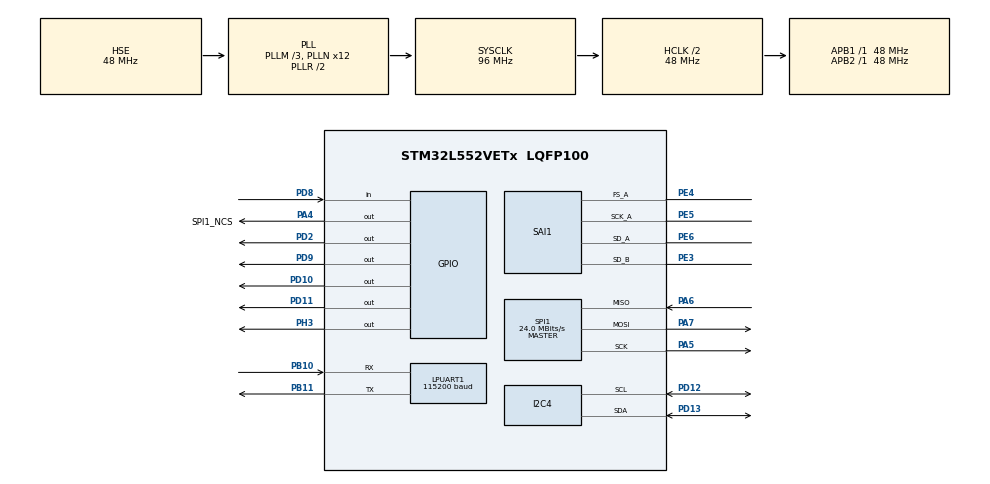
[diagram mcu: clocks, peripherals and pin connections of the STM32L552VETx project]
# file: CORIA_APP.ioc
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Dma.LPUART1_RX.1.Channel_PRIV_NPRIV=DMA_CHANNEL_NPRIV_DISABLE
Dma.LPUART1_RX.1.Direction=DMA_PERIPH_TO_MEMORY
Dma.LPUART1_RX.1.EventEnable=DISABLE
Dma.LPUART1_RX.1.Instance=DMA1_Channel2
Dma.LPUART1_RX.1.MemDataAlignment=DMA_MDATAALIGN_BYTE
Dma.LPUART1_RX.1.MemInc=DMA_MINC_ENABLE
Dma.LPUART1_RX.1.Mode=DMA_NORMAL
Dma.LPUART1_RX.1.PeriphDataAlignment=DMA_PDATAALIGN_BYTE
Dma.LPUART1_RX.1.PeriphInc=DMA_PINC_DISABLE
Dma.LPUART1_RX.1.Polarity=HAL_DMAMUX_REQ_GEN_RISING
Dma.LPUART1_RX.1.Priority=DMA_PRIORITY_MEDIUM
Dma.LPUART1_RX.1.RequestNumber=1
Dma.LPUART1_RX.1.SignalID=NONE
Dma.LPUART1_RX.1.SyncEnable=DISABLE
Dma.LPUART1_RX.1.SyncPolarity=HAL_DMAMUX_SYNC_NO_EVENT
Dma.LPUART1_RX.1.SyncRequestNumber=1
Dma.LPUART1_RX.1.SyncSignalID=NONE
Dma.LPUART1_TX.0.Channel_PRIV_NPRIV=DMA_CHANNEL_NPRIV_DISABLE
Dma.LPUART1_TX.0.Direction=DMA_MEMORY_TO_PERIPH
Dma.LPUART1_TX.0.EventEnable=DISABLE
Dma.LPUART1_TX.0.Instance=DMA1_Channel1
Dma.LPUART1_TX.0.MemDataAlignment=DMA_MDATAALIGN_BYTE
Dma.LPUART1_TX.0.MemInc=DMA_MINC_ENABLE
Dma.LPUART1_TX.0.Mode=DMA_NORMAL
Dma.LPUART1_TX.0.PeriphDataAlignment=DMA_PDATAALIGN_BYTE
Dma.LPUART1_TX.0.PeriphInc=DMA_PINC_DISABLE
Dma.LPUART1_TX.0.Polarity=HAL_DMAMUX_REQ_GEN_RISING
Dma.LPUART1_TX.0.Priority=DMA_PRIORITY_MEDIUM
Dma.LPUART1_TX.0.RequestNumber=1
Dma.LPUART1_TX.0.SignalID=NONE
Dma.LPUART1_TX.0.SyncEnable=DISABLE
Dma.LPUART1_TX.0.SyncPolarity=HAL_DMAMUX_SYNC_NO_EVENT
Dma.LPUART1_TX.0.SyncRequestNumber=1
Dma.LPUART1_TX.0.SyncSignalID=NONE
Dma.Request0=LPUART1_TX
Dma.Request1=LPUART1_RX
Dma.Request2=SAI1_A
Dma.Request3=SAI1_B
Dma.SAI1_A.2.Channel_PRIV_NPRIV=DMA_CHANNEL_NPRIV_DISABLE
Dma.SAI1_A.2.Direction=DMA_MEMORY_TO_PERIPH
Dma.SAI1_A.2.EventEnable=DISABLE
Dma.SAI1_A.2.Instance=DMA1_Channel3
Dma.SAI1_A.2.MemDataAlignment=DMA_MDATAALIGN_HALFWORD
Dma.SAI1_A.2.MemInc=DMA_MINC_ENABLE
Dma.SAI1_A.2.Mode=DMA_CIRCULAR
Dma.SAI1_A.2.PeriphDataAlignment=DMA_PDATAALIGN_HALFWORD
Dma.SAI1_A.2.PeriphInc=DMA_PINC_DISABLE
Dma.SAI1_A.2.Polarity=HAL_DMAMUX_REQ_GEN_RISING
Dma.SAI1_A.2.Priority=DMA_PRIORITY_LOW
Dma.SAI1_A.2.RequestNumber=1
Dma.SAI1_A.2.SignalID=NONE
Dma.SAI1_A.2.SyncEnable=DISABLE
Dma.SAI1_A.2.SyncPolarity=HAL_DMAMUX_SYNC_NO_EVENT
Dma.SAI1_A.2.SyncRequestNumber=1
Dma.SAI1_A.2.SyncSignalID=NONE
Dma.SAI1_B.3.Channel_PRIV_NPRIV=DMA_CHANNEL_NPRIV_DISABLE
Dma.SAI1_B.3.Direction=DMA_PERIPH_TO_MEMORY
Dma.SAI1_B.3.EventEnable=DISABLE
Dma.SAI1_B.3.Instance=DMA1_Channel4
Dma.SAI1_B.3.MemDataAlignment=DMA_MDATAALIGN_HALFWORD
Dma.SAI1_B.3.MemInc=DMA_MINC_ENABLE
Dma.SAI1_B.3.Mode=DMA_CIRCULAR
Dma.SAI1_B.3.PeriphDataAlignment=DMA_PDATAALIGN_HALFWORD
Dma.SAI1_B.3.PeriphInc=DMA_PINC_DISABLE
Dma.SAI1_B.3.Polarity=HAL_DMAMUX_REQ_GEN_RISING
Dma.SAI1_B.3.Priority=DMA_PRIORITY_MEDIUM
Dma.SAI1_B.3.RequestNumber=1
Dma.SAI1_B.3.SignalID=NONE
Dma.SAI1_B.3.SyncEnable=DISABLE
Dma.SAI1_B.3.SyncPolarity=HAL_DMAMUX_SYNC_NO_EVENT
Dma.SAI1_B.3.SyncRequestNumber=1
Dma.SAI1_B.3.SyncSignalID=NONE
I2C4.Timing=0x20303E5D
LPUART1.BaudRate=115200
LPUART1.WordLength=UART_WORDLENGTH_8B
Mcu.Family=STM32L5
Mcu.Name=STM32L552VETx
Mcu.Package=LQFP100
NVIC.DMA1_Channel1_IRQn=true\:0\:0\:false\:false\:true\:false\:true\:true
NVIC.DMA1_Channel2_IRQn=true\:5\:0\:true\:false\:true\:false\:true\:true
NVIC.DMA1_Channel3_IRQn=true\:0\:0\:false\:false\:true\:false\:true\:true
NVIC.DMA1_Channel4_IRQn=true\:0\:0\:false\:false\:true\:false\:true\:true
NVIC.LPUART1_IRQn=true\:5\:0\:true\:false\:true\:true\:true\:true
NVIC.PriorityGroup=NVIC_PRIORITYGROUP_3
NVIC.RTC_IRQn=true\:0\:0\:false\:false\:true\:true\:true\:true
NVIC.TIM1_UP_IRQn=true\:7\:0\:false\:false\:true\:false\:true\:true
NVIC.TimeBase=TIM1_UP_IRQn
NVIC.TimeBaseIP=TIM1
PA4.GPIO_Label=SPI1_NCS
PA4.PinState=GPIO_PIN_SET
PA4.Signal=GPIO_Output
PA5.Mode=Full_Duplex_Master
PA5.Signal=SPI1_SCK
PA6.Mode=Full_Duplex_Master
PA6.Signal=SPI1_MISO
PA7.Mode=Full_Duplex_Master
PA7.Signal=SPI1_MOSI
PB10.Mode=Asynchronous
PB10.Signal=LPUART1_RX
PB11.Mode=Asynchronous
PB11.Signal=LPUART1_TX
PC14-OSC32_IN\ (PC14).Mode=LSE-External-Oscillator
PC14-OSC32_IN\ (PC14).Signal=RCC_OSC32_IN
PC15-OSC32_OUT\ (PC15).Mode=LSE-External-Oscillator
PC15-OSC32_OUT\ (PC15).Signal=RCC_OSC32_OUT
PD10.PinState=GPIO_PIN_RESET
PD10.Signal=GPIO_Output
PD11.PinState=GPIO_PIN_RESET
PD11.Signal=GPIO_Output
PD12.Mode=I2C
PD12.Signal=I2C4_SCL
PD13.Mode=I2C
PD13.Signal=I2C4_SDA
PD2.Signal=GPIO_Output
PD8.Signal=GPIO_Input
PD9.Signal=GPIO_Output
PE3.Mode=SAI_B_SyncSlave
PE3.Signal=SAI1_SD_B
PE4.Mode=SAI_A_Master
PE4.Signal=SAI1_FS_A
PE5.Mode=SAI_A_Master
PE5.Signal=SAI1_SCK_A
PE6.Mode=SAI_A_Master
PE6.Signal=SAI1_SD_A
PH0-OSC_IN\ (PH0).Mode=HSE-External-Oscillator
PH0-OSC_IN\ (PH0).Signal=RCC_OSC_IN
PH1-OSC_OUT\ (PH1).Mode=HSE-External-Oscillator
PH1-OSC_OUT\ (PH1).Signal=RCC_OSC_OUT
PH3-BOOT0.GPIO_PuPd=GPIO_PULLDOWN
PH3-BOOT0.Signal=GPIO_Output
ProjectManager.HeapSize=0x200
ProjectManager.StackSize=0x400
ProjectManager.TargetToolchain=STM32CubeIDE
RCC.ADCFreq_Value=68000000
RCC.AHBCLKDivider=RCC_SYSCLK_DIV2
RCC.AHBFreq_Value=48000000
RCC.APB1Freq_Value=48000000
RCC.APB1TimFreq_Value=48000000
RCC.APB2Freq_Value=48000000
RCC.APB2TimFreq_Value=48000000
RCC.CortexFreq_Value=48000000
RCC.FLatency=FLASH_LATENCY_2
RCC.HCLKFreq_Value=48000000
RCC.HSE_Timout=200
RCC.HSE_VALUE=48000000
RCC.HSI48_VALUE=48000000
RCC.HSI_VALUE=16000000
RCC.MSI_VALUE=4000000
RCC.PLLM=3
RCC.PLLN=12
RCC.PLLSAI1M=6
RCC.PLLSAI1N=17
RCC.PLLSAI1P=RCC_PLLP_DIV17
RCC.PLLSAI1Source=RCC_PLLSAI1SOURCE_HSE
RCC.PLLSAI2Source=RCC_PLLSAI2SOURCE_HSE
RCC.PLLSourceVirtual=RCC_PLLSOURCE_HSE
RCC.RTCClockSelection=RCC_RTCCLKSOURCE_LSE
RCC.SYSCLKFreq_VALUE=96000000
RCC.SYSCLKSource=RCC_SYSCLKSOURCE_PLLCLK
RCC.USBFreq_Value=68000000
RCC.VCOOutputFreq_Value=192000000
RCC.VDD_VALUE=3
RTC.WakeUpCounter-WakeUp=0x7810
SAI1.AudioFrequency-SAI_A_Master=SAI_AUDIO_FREQUENCY_32K
SAI1.BasicDataSize-SAI_A_Master=SAI_PROTOCOL_DATASIZE_16BITEXTENDED
SAI1.BasicDataSize-SAI_B_SyncSlave=SAI_PROTOCOL_DATASIZE_16BITEXTENDED
SAI1.BasicProtocol-SAI_B_SyncSlave=SAI_I2S_STANDARD
SAI1.ErrorAudioFreq-SAI_A_Master=-2.34 %
SAI1.InitProtocol-SAI_A_Master=Enable
SAI1.InitProtocol-SAI_B_SyncSlave=Enable
SAI1.Instance-SAI_A_Master=SAI$Index_Block_A
SAI1.Instance-SAI_B_SyncSlave=SAI$Index_Block_B
SAI1.MckOutput-SAI_A_Master=SAI_MCK_OUTPUT_DISABLE
SAI1.MonoStereoMode-SAI_A_Master=SAI_MONOMODE
SAI1.NoDivider-SAI_A_Master=SAI_MASTERDIVIDER_ENABLE
SAI1.RealAudioFreq-SAI_A_Master=31.25 KHz
SAI1.SynchroExt=SAI_SYNCEXT_OUTBLOCKB_ENABLE
SAI1.TriState-SAI_B_SyncSlave=SAI_OUTPUT_RELEASED
SAI1.VirtualMode-SAI_A_Master=VM_MASTER
SAI1.VirtualMode-SAI_B_SyncSlave=VM_SLAVE
SAI1.VirtualProtocol-SAI_A_BASIC=VM_BASIC_PROTOCOL
SAI1.VirtualProtocol-SAI_B_BASIC=VM_BASIC_PROTOCOL
SPI1.BaudRatePrescaler=SPI_BAUDRATEPRESCALER_2
SPI1.CalculateBaudRate=24.0 MBits/s
SPI1.DataSize=SPI_DATASIZE_8BIT
SPI1.Direction=SPI_DIRECTION_2LINES
SPI1.Mode=SPI_MODE_MASTER
SPI1.VirtualType=VM_MASTER
VP_ICACHE_VS_ICACHE.Mode=DefaultMode
VP_RTC_VS_RTC_Activate.Mode=RTC_Enabled
VP_RTC_VS_RTC_WakeUp_intern.Mode=WakeUp
VP_SAI1_VP_$IpInstance_SAIA_SAI_BASIC.Mode=SAI_A_BASIC
VP_SAI1_VP_$IpInstance_SAIB_SAI_BASIC.Mode=SAI_B_BASIC
VP_SAI1_VP_$IpInstance_SYNCHRO_EXTERNAL.Mode=SynchroExternal
VP_SYS_VS_tim1.Mode=TIM1
board=custom

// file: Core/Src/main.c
/* USER CODE BEGIN Header */
/**
  ******************************************************************************
  * @file           : main.c
  * @brief          : Main program body
  ******************************************************************************
  * @attention
  *
  * Copyright (c) 2023 STMicroelectronics.
  * All rights reserved.
  *
  * This software is licensed under terms that can be found in the LICENSE file
  * in the root directory of this software component.
  * If no LICENSE file comes with this software, it is provided AS-IS.
  *
  ******************************************************************************
  */
/* USER CODE END Header */
#include "main.h"

/* USER CODE BEGIN Includes */
#include "stdio.h"
#include <string.h>
#include <stdarg.h>
#include <w25n01gv.h>
#include <lfs.h>
#include <sample_data.h>

/* USER CODE END Includes */

/* USER CODE BEGIN PD */

#define CLS "\033[2J"
#define HOME "\033[H"

/* USER CODE END PD */

I2C_HandleTypeDef hi2c4;

UART_HandleTypeDef hlpuart1;
DMA_HandleTypeDef hdma_lpuart1_tx;
DMA_HandleTypeDef hdma_lpuart1_rx;

RTC_HandleTypeDef hrtc;

SAI_HandleTypeDef hsai_BlockA1;
SAI_HandleTypeDef hsai_BlockB1;
DMA_HandleTypeDef hdma_sai1_a;
DMA_HandleTypeDef hdma_sai1_b;

SPI_HandleTypeDef hspi1;

/* USER CODE BEGIN PV */
uint16_t i;
uint16_t data[100];
uint16_t data_spi[10];
int32_t data_i2s[100];
volatile int16_t sample_i2s;

uint8_t Buffer[25] = {0};
uint8_t Space[] = " - ";
uint8_t buf[2112];

// WINBOND instructions
uint8_t spi_buf[5];

// lfs
// variables used by the filesystem
lfs_t lfs;
lfs_file_t file;
lfs_file_t file_max;
lfs_file_t file_input_data;
lfs_file_t file_input_60;
lfs_file_t file_out;

// configuration of the filesystem is provided by this struct
const struct lfs_config cfg = {
    // block device operations
    .read  = W25_readLittlefs,
    .prog  = W25_writeLittlefs,
    .erase = W25_eraseLittlefs,
    .sync  = W25_syncLittlefs,

    // block device configuration
    .read_size = 512,
    .prog_size = 512,
    .block_size = W25_PROGRAM_BLOCK_SIZE * W25_SECTOR_COUNT,
    .block_count = W25_SECTOR_COUNT,
    .cache_size = 512,
    .lookahead_size = 512,
    .block_cycles = 1000,
};

// 1-channel 28x28 data input (784 bytes / 196 32-bit words):
// CHW 28x28, channel 0
//static const uint32_t input_0[] = SAMPLE_INPUT_0;

// 3-channel 32x32 data input (3072 bytes total / 1024 bytes per channel):
// HWC 32x32, channels 0 to 2
static const uint32_t input_60[] = SAMPLE_INPUT_60;
/* Number of outputs for this network */
#define CNN_NUM_OUTPUTS 100
// Classification layer:
uint16_t ml_softmax[CNN_NUM_OUTPUTS];
int digs, tens;

/* USER CODE END PV */

void SystemClock_Config(void);
void PeriphCommonClock_Config(void);
static void MX_GPIO_Init(void);
static void MX_DMA_Init(void);
static void MX_ICACHE_Init(void);
static void MX_LPUART1_UART_Init(void);
static void MX_SAI1_Init(void);
static void MX_I2C4_Init(void);
static void MX_SPI1_Init(void);
static void MX_RTC_Init(void);

int main(void)
{
  /* MCU Configuration--------------------------------------------------------*/
  /* Reset of all peripherals, Initializes the Flash interface and the Systick. */
  HAL_Init();
  /* Configure the system clock */
  SystemClock_Config();
  /* Configure the peripherals common clocks */
  PeriphCommonClock_Config();
  /* Initialize all configured peripherals */
  MX_GPIO_Init();
  MX_DMA_Init();
  MX_ICACHE_Init();
  MX_LPUART1_UART_Init();
  MX_SAI1_Init();
  MX_I2C4_Init();
  MX_SPI1_Init();
  MX_RTC_Init();
  /* USER CODE BEGIN 2 */
  HAL_GPIO_WritePin(GPIOD, GPIO_PIN_10, GPIO_PIN_SET);
  HAL_GPIO_WritePin(GPIOD, GPIO_PIN_11, GPIO_PIN_SET);
  HAL_Delay(1000);
  debug_print(CLS);
  HAL_Delay(10);
  debug_print(HOME);
  HAL_Delay(10);
  debug_print("ESTAR_CORIA APP vD1.1 (STM32L552) \r\n");
  HAL_Delay(100);
  debug_print("Waiting for PSU Stabilization \r\n");
  HAL_Delay(1000);

  // MAKE SURE WE CAN WRITE ALL MEMORY FIRST
  W25_WriteStatusReg(0xA0, 0b00000000);
  HAL_Delay(100);

  // mount the filesystem
  int err = lfs_mount(&lfs, &cfg);
  if(err){
	  debug_print("err: %d",err);
  }
  if (err) {
	  for (uint16_t i = 0; i <= 1024; i++) {
		  W25_SectorErase(i);
		  HAL_Delay(10);
	  }
	  debug_print("\n\r Erased whole Memory -- Again -- \n\r");
      err = lfs_format(&lfs, &cfg);
      debug_print("\err: %d\n\r", err);
      HAL_Delay(5);
      err = lfs_mount(&lfs, &cfg);
      debug_print("\err: %d\n\r", err);
      HAL_Delay(5);
  }
  HAL_Delay(5);
  // reformat if we can't mount the filesystem
  // this should only happen on the first boot
  if (err == 0) {
	  /*
	  // read current count
	  uint32_t boot_count = 0;
	  lfs_file_open(&lfs, &file, "boot_count", LFS_O_RDWR | LFS_O_CREAT);
	  lfs_file_read(&lfs, &file, &boot_count, sizeof(boot_count));

	  // update boot count
	  boot_count += 1;
	  lfs_file_rewind(&lfs, &file);
	  lfs_file_write(&lfs, &file, &boot_count, sizeof(boot_count));

	  // remember the storage is not updated until the file is closed successfully
	  lfs_file_close(&lfs, &file);

	  uint32_t max_count = 0;
	  lfs_file_open(&lfs, &file_max, "max_count", LFS_O_RDWR | LFS_O_CREAT);
	  lfs_file_read(&lfs, &file_max, &max_count, sizeof(max_count));
	  lfs_file_close(&lfs, &file_max);

	  // load input data into file
	  // first open such file
	  lfs_file_open(&lfs, &file_input_data, "input_data", LFS_O_RDWR | LFS_O_CREAT);
	  // rewind file
	  lfs_file_rewind(&lfs, &file_input_data);
	  // write actual data
	  lfs_file_write(&lfs, &file_input_data, &input_0, sizeof(input_0));
	  // close file
	  lfs_file_close(&lfs, &file_input_data);
		*/
	  // load input data into file
	  // first open such file
	  lfs_file_open(&lfs, &file_input_60, "input_60", LFS_O_RDWR | LFS_O_CREAT);
	  // rewind file
	  lfs_file_rewind(&lfs, &file_input_60);
	  // write actual data
	  lfs_file_write(&lfs, &file_input_60, &input_60, sizeof(input_60));
	  // close file
	  lfs_file_close(&lfs, &file_input_60);
	  debug_print("Input loaded to memory\n\r");
	  HAL_Delay(1);

	  // release any resources we were using
	  lfs_unmount(&lfs);

	  // print the boot count
	  //debug_print("boot_count: %d\n\r", boot_count);
	  //HAL_Delay(1);
	  //debug_print("max_count: %d\n\r", max_count);
	  //HAL_Delay(1);
  }
	GPIO_InitTypeDef GPIO_InitStructSPISS = {0};
	GPIO_InitStructSPISS.Pin = SPI1_NCS_Pin;
	GPIO_InitStructSPISS.Mode = GPIO_MODE_INPUT;
	GPIO_InitStructSPISS.Pull = GPIO_NOPULL;
	GPIO_InitStructSPISS.Speed = GPIO_SPEED_FREQ_LOW;
	HAL_GPIO_Init(GPIOA, &GPIO_InitStructSPISS);
  	HAL_SPI_DeInit(&hspi1);
  	debug_print("Waiting for MAX78002\r\n");
  	HAL_Delay(1);
  	HAL_GPIO_WritePin(GPIOD, GPIO_PIN_9, GPIO_PIN_SET);

	while( HAL_GPIO_ReadPin(GPIOD, GPIO_PIN_8) == GPIO_PIN_RESET ){
	  	HAL_Delay(100);
	}
	GPIO_InitStructSPISS.Pin = SPI1_NCS_Pin;
	GPIO_InitStructSPISS.Mode = GPIO_MODE_OUTPUT_PP;
	GPIO_InitStructSPISS.Pull = GPIO_NOPULL;
	GPIO_InitStructSPISS.Speed = GPIO_SPEED_FREQ_LOW;
	HAL_GPIO_Init(GPIOA, &GPIO_InitStructSPISS);
	MX_SPI1_Init();
	debug_print("Reading CNN results\r\n");
	HAL_Delay(1);
	// remount the filesystem
	err = lfs_mount(&lfs, &cfg);
	if(err){
		debug_print("err: %d",err);
	}
	HAL_Delay(5);

	if (err == 0) {
		lfs_file_open(&lfs, &file_out, "file_out", LFS_O_RDWR | LFS_O_CREAT);
		lfs_file_read(&lfs, &file_out, &ml_softmax, sizeof(ml_softmax));
		lfs_file_close(&lfs, &file_out);
		debug_print("Results read from file\r\n");
		HAL_Delay(1);
	}
	// release any resources we were using
	lfs_unmount(&lfs);
	debug_print("Classification results:\r\n");
    for (i = 0; i < CNN_NUM_OUTPUTS; i++) {
        digs = (1000 * ml_softmax[i] + 0x4000) >> 15;
        tens = digs % 10;
        digs = digs / 10;
        debug_print("Class %d: %d.%d%% \r\n", i, digs, tens);
    }
    // Turn OFF PSUs
    HAL_GPIO_WritePin(GPIOD, GPIO_PIN_10, GPIO_PIN_RESET);
    HAL_GPIO_WritePin(GPIOD, GPIO_PIN_11, GPIO_PIN_RESET);
    debug_print("Bye Bye - MRM        \r\n");
    HAL_Delay(1);
    HAL_PWREx_EnterSHUTDOWNMode();
  /* USER CODE END 2 */

  /* Infinite loop */
  /* USER CODE BEGIN WHILE */
  while (1)
  {
	//debug_print("%d\r\n", sample_i2s);
    /* USER CODE END WHILE */
  }
}

void SystemClock_Config(void)
{
  RCC_OscInitTypeDef RCC_OscInitStruct = {0};
  RCC_ClkInitTypeDef RCC_ClkInitStruct = {0};

  /** Configure the main internal regulator output voltage
  */
  if (HAL_PWREx_ControlVoltageScaling(PWR_REGULATOR_VOLTAGE_SCALE1) != HAL_OK)
  {
    Error_Handler();
  }

  /** Configure LSE Drive Capability
  */
  HAL_PWR_EnableBkUpAccess();
  __HAL_RCC_LSEDRIVE_CONFIG(RCC_LSEDRIVE_LOW);

  /** Initializes the RCC Oscillators according to the specified parameters
  * in the RCC_OscInitTypeDef structure.
  */
  RCC_OscInitStruct.OscillatorType = RCC_OSCILLATORTYPE_HSE|RCC_OSCILLATORTYPE_LSE;
  RCC_OscInitStruct.HSEState = RCC_HSE_ON;
  RCC_OscInitStruct.LSEState = RCC_LSE_ON;
  RCC_OscInitStruct.PLL.PLLState = RCC_PLL_ON;
  RCC_OscInitStruct.PLL.PLLSource = RCC_PLLSOURCE_HSE;
  RCC_OscInitStruct.PLL.PLLM = 3;
  RCC_OscInitStruct.PLL.PLLN = 12;
  RCC_OscInitStruct.PLL.PLLP = RCC_PLLP_DIV7;
  RCC_OscInitStruct.PLL.PLLQ = RCC_PLLQ_DIV2;
  RCC_OscInitStruct.PLL.PLLR = RCC_PLLR_DIV2;
  if (HAL_RCC_OscConfig(&RCC_OscInitStruct) != HAL_OK)
  {
    Error_Handler();
  }

  /** Initializes the CPU, AHB and APB buses clocks
  */
  RCC_ClkInitStruct.ClockType = RCC_CLOCKTYPE_HCLK|RCC_CLOCKTYPE_SYSCLK
                              |RCC_CLOCKTYPE_PCLK1|RCC_CLOCKTYPE_PCLK2;
  RCC_ClkInitStruct.SYSCLKSource = RCC_SYSCLKSOURCE_PLLCLK;
  RCC_ClkInitStruct.AHBCLKDivider = RCC_SYSCLK_DIV2;
  RCC_ClkInitStruct.APB1CLKDivider = RCC_HCLK_DIV1;
  RCC_ClkInitStruct.APB2CLKDivider = RCC_HCLK_DIV1;

  if (HAL_RCC_ClockConfig(&RCC_ClkInitStruct, FLASH_LATENCY_2) != HAL_OK)
  {
    Error_Handler();
  }
}

void PeriphCommonClock_Config(void)
{
  RCC_PeriphCLKInitTypeDef PeriphClkInit = {0};

  /** Initializes the common periph clock
  */
  PeriphClkInit.PeriphClockSelection = RCC_PERIPHCLK_SAI1;
  PeriphClkInit.Sai1ClockSelection = RCC_SAI1CLKSOURCE_PLLSAI1;
  PeriphClkInit.PLLSAI1.PLLSAI1Source = RCC_PLLSAI1SOURCE_HSE;
  PeriphClkInit.PLLSAI1.PLLSAI1M = 6;
  PeriphClkInit.PLLSAI1.PLLSAI1N = 17;
  PeriphClkInit.PLLSAI1.PLLSAI1P = RCC_PLLP_DIV17;
  PeriphClkInit.PLLSAI1.PLLSAI1Q = RCC_PLLQ_DIV2;
  PeriphClkInit.PLLSAI1.PLLSAI1R = RCC_PLLR_DIV2;
  PeriphClkInit.PLLSAI1.PLLSAI1ClockOut = RCC_PLLSAI1_SAI1CLK;
  if (HAL_RCCEx_PeriphCLKConfig(&PeriphClkInit) != HAL_OK)
  {
    Error_Handler();
  }
}

static void MX_I2C4_Init(void)
{

  hi2c4.Instance = I2C4;
  hi2c4.Init.Timing = 0x20303E5D;
  hi2c4.Init.OwnAddress1 = 0;
  hi2c4.Init.AddressingMode = I2C_ADDRESSINGMODE_7BIT;
  hi2c4.Init.DualAddressMode = I2C_DUALADDRESS_DISABLE;
  hi2c4.Init.OwnAddress2 = 0;
  hi2c4.Init.OwnAddress2Masks = I2C_OA2_NOMASK;
  hi2c4.Init.GeneralCallMode = I2C_GENERALCALL_DISABLE;
  hi2c4.Init.NoStretchMode = I2C_NOSTRETCH_DISABLE;
  if (HAL_I2C_Init(&hi2c4) != HAL_OK)
  {
    Error_Handler();
  }

  /** Configure Analogue filter
  */
  if (HAL_I2CEx_ConfigAnalogFilter(&hi2c4, I2C_ANALOGFILTER_ENABLE) != HAL_OK)
  {
    Error_Handler();
  }

  /** Configure Digital filter
  */
  if (HAL_I2CEx_ConfigDigitalFilter(&hi2c4, 0) != HAL_OK)
  {
    Error_Handler();
  }

}

static void MX_ICACHE_Init(void)
{

  /** Enable instruction cache (default 2-ways set associative cache)
  */
  if (HAL_ICACHE_Enable() != HAL_OK)
  {
    Error_Handler();
  }

}

static void MX_LPUART1_UART_Init(void)
{

  hlpuart1.Instance = LPUART1;
  hlpuart1.Init.BaudRate = 115200;
  hlpuart1.Init.WordLength = UART_WORDLENGTH_8B;
  hlpuart1.Init.StopBits = UART_STOPBITS_1;
  hlpuart1.Init.Parity = UART_PARITY_NONE;
  hlpuart1.Init.Mode = UART_MODE_TX_RX;
  hlpuart1.Init.HwFlowCtl = UART_HWCONTROL_NONE;
  hlpuart1.Init.OneBitSampling = UART_ONE_BIT_SAMPLE_DISABLE;
  hlpuart1.Init.ClockPrescaler = UART_PRESCALER_DIV1;
  hlpuart1.AdvancedInit.AdvFeatureInit = UART_ADVFEATURE_NO_INIT;
  hlpuart1.FifoMode = UART_FIFOMODE_DISABLE;
  if (HAL_UART_Init(&hlpuart1) != HAL_OK)
  {
    Error_Handler();
  }
  if (HAL_UARTEx_SetTxFifoThreshold(&hlpuart1, UART_TXFIFO_THRESHOLD_1_8) != HAL_OK)
  {
    Error_Handler();
  }
  if (HAL_UARTEx_SetRxFifoThreshold(&hlpuart1, UART_RXFIFO_THRESHOLD_1_8) != HAL_OK)
  {
    Error_Handler();
  }
  if (HAL_UARTEx_DisableFifoMode(&hlpuart1) != HAL_OK)
  {
    Error_Handler();
  }

}

static void MX_RTC_Init(void)
{

  RTC_PrivilegeStateTypeDef privilegeState = {0};

  /** Initialize RTC Only
  */
  hrtc.Instance = RTC;
  hrtc.Init.HourFormat = RTC_HOURFORMAT_24;
  hrtc.Init.AsynchPrediv = 127;
  hrtc.Init.SynchPrediv = 255;
  hrtc.Init.OutPut = RTC_OUTPUT_DISABLE;
  hrtc.Init.OutPutRemap = RTC_OUTPUT_REMAP_NONE;
  hrtc.Init.OutPutPolarity = RTC_OUTPUT_POLARITY_HIGH;
  hrtc.Init.OutPutType = RTC_OUTPUT_TYPE_OPENDRAIN;
  hrtc.Init.OutPutPullUp = RTC_OUTPUT_PULLUP_NONE;
  if (HAL_RTC_Init(&hrtc) != HAL_OK)
  {
    Error_Handler();
  }
  privilegeState.rtcPrivilegeFull = RTC_PRIVILEGE_FULL_NO;
  privilegeState.backupRegisterPrivZone = RTC_PRIVILEGE_BKUP_ZONE_NONE;
  privilegeState.backupRegisterStartZone2 = RTC_BKP_DR0;
  privilegeState.backupRegisterStartZone3 = RTC_BKP_DR0;
  if (HAL_RTCEx_PrivilegeModeSet(&hrtc, &privilegeState) != HAL_OK)
  {
    Error_Handler();
  }

  /** Enable the WakeUp
  */
  if (HAL_RTCEx_SetWakeUpTimer_IT(&hrtc, 0x7810, RTC_WAKEUPCLOCK_RTCCLK_DIV16, 0) != HAL_OK)
  {
    Error_Handler();
  }

}

static void MX_SAI1_Init(void)
{

  hsai_BlockA1.Instance = SAI1_Block_A;
  hsai_BlockA1.Init.AudioMode = SAI_MODEMASTER_TX;
  hsai_BlockA1.Init.Synchro = SAI_ASYNCHRONOUS;
  hsai_BlockA1.Init.OutputDrive = SAI_OUTPUTDRIVE_DISABLE;
  hsai_BlockA1.Init.NoDivider = SAI_MASTERDIVIDER_ENABLE;
  hsai_BlockA1.Init.FIFOThreshold = SAI_FIFOTHRESHOLD_EMPTY;
  hsai_BlockA1.Init.AudioFrequency = SAI_AUDIO_FREQUENCY_32K;
  hsai_BlockA1.Init.SynchroExt = SAI_SYNCEXT_OUTBLOCKB_ENABLE;
  hsai_BlockA1.Init.MonoStereoMode = SAI_MONOMODE;
  hsai_BlockA1.Init.CompandingMode = SAI_NOCOMPANDING;
  hsai_BlockA1.Init.TriState = SAI_OUTPUT_NOTRELEASED;
  if (HAL_SAI_InitProtocol(&hsai_BlockA1, SAI_I2S_STANDARD, SAI_PROTOCOL_DATASIZE_16BITEXTENDED, 2) != HAL_OK)
  {
    Error_Handler();
  }
  hsai_BlockB1.Instance = SAI1_Block_B;
  hsai_BlockB1.Init.AudioMode = SAI_MODESLAVE_RX;
  hsai_BlockB1.Init.Synchro = SAI_SYNCHRONOUS;
  hsai_BlockB1.Init.OutputDrive = SAI_OUTPUTDRIVE_DISABLE;
  hsai_BlockB1.Init.FIFOThreshold = SAI_FIFOTHRESHOLD_EMPTY;
  hsai_BlockB1.Init.SynchroExt = SAI_SYNCEXT_OUTBLOCKB_ENABLE;
  hsai_BlockB1.Init.MonoStereoMode = SAI_STEREOMODE;
  hsai_BlockB1.Init.CompandingMode = SAI_NOCOMPANDING;
  hsai_BlockB1.Init.TriState = SAI_OUTPUT_RELEASED;
  if (HAL_SAI_InitProtocol(&hsai_BlockB1, SAI_I2S_STANDARD, SAI_PROTOCOL_DATASIZE_16BITEXTENDED, 2) != HAL_OK)
  {
    Error_Handler();
  }

}

static void MX_SPI1_Init(void)
{

  /* SPI1 parameter configuration*/
  hspi1.Instance = SPI1;
  hspi1.Init.Mode = SPI_MODE_MASTER;
  hspi1.Init.Direction = SPI_DIRECTION_2LINES;
  hspi1.Init.DataSize = SPI_DATASIZE_8BIT;
  hspi1.Init.CLKPolarity = SPI_POLARITY_LOW;
  hspi1.Init.CLKPhase = SPI_PHASE_1EDGE;
  hspi1.Init.NSS = SPI_NSS_SOFT;
  hspi1.Init.BaudRatePrescaler = SPI_BAUDRATEPRESCALER_2;
  hspi1.Init.FirstBit = SPI_FIRSTBIT_MSB;
  hspi1.Init.TIMode = SPI_TIMODE_DISABLE;
  hspi1.Init.CRCCalculation = SPI_CRCCALCULATION_DISABLE;
  hspi1.Init.CRCPolynomial = 7;
  hspi1.Init.CRCLength = SPI_CRC_LENGTH_DATASIZE;
  hspi1.Init.NSSPMode = SPI_NSS_PULSE_ENABLE;
  if (HAL_SPI_Init(&hspi1) != HAL_OK)
  {
    Error_Handler();
  }

}

static void MX_DMA_Init(void)
{

  /* DMA controller clock enable */
  __HAL_RCC_DMAMUX1_CLK_ENABLE();
  __HAL_RCC_DMA1_CLK_ENABLE();

  /* DMA interrupt init */
  /* DMA1_Channel1_IRQn interrupt configuration */
  HAL_NVIC_SetPriority(DMA1_Channel1_IRQn, 0, 0);
  HAL_NVIC_EnableIRQ(DMA1_Channel1_IRQn);
  /* DMA1_Channel2_IRQn interrupt configuration */
  HAL_NVIC_SetPriority(DMA1_Channel2_IRQn, 5, 0);
  HAL_NVIC_EnableIRQ(DMA1_Channel2_IRQn);
  /* DMA1_Channel3_IRQn interrupt configuration */
  HAL_NVIC_SetPriority(DMA1_Channel3_IRQn, 0, 0);
  HAL_NVIC_EnableIRQ(DMA1_Channel3_IRQn);
  /* DMA1_Channel4_IRQn interrupt configuration */
  HAL_NVIC_SetPriority(DMA1_Channel4_IRQn, 0, 0);
  HAL_NVIC_EnableIRQ(DMA1_Channel4_IRQn);

}

static void MX_GPIO_Init(void)
{
  GPIO_InitTypeDef GPIO_InitStruct = {0};

  /* GPIO Ports Clock Enable */
  __HAL_RCC_GPIOE_CLK_ENABLE();
  __HAL_RCC_GPIOC_CLK_ENABLE();
  __HAL_RCC_GPIOH_CLK_ENABLE();
  __HAL_RCC_GPIOA_CLK_ENABLE();
  __HAL_RCC_GPIOB_CLK_ENABLE();
  __HAL_RCC_GPIOD_CLK_ENABLE();

  /*Configure GPIO pin Output Level */
  HAL_GPIO_WritePin(SPI1_NCS_GPIO_Port, SPI1_NCS_Pin, GPIO_PIN_SET);

  /*Configure GPIO pin Output Level */
  HAL_GPIO_WritePin(GPIOD, GPIO_PIN_9|GPIO_PIN_10|GPIO_PIN_11|GPIO_PIN_2, GPIO_PIN_RESET);

  /*Configure GPIO pin Output Level */
  HAL_GPIO_WritePin(GPIOH, GPIO_PIN_3, GPIO_PIN_RESET);

  /*Configure GPIO pin : SPI1_NCS_Pin */
  GPIO_InitStruct.Pin = SPI1_NCS_Pin;
  GPIO_InitStruct.Mode = GPIO_MODE_OUTPUT_PP;
  GPIO_InitStruct.Pull = GPIO_NOPULL;
  GPIO_InitStruct.Speed = GPIO_SPEED_FREQ_LOW;
  HAL_GPIO_Init(SPI1_NCS_GPIO_Port, &GPIO_InitStruct);

  /*Configure GPIO pin : PD8 */
  GPIO_InitStruct.Pin = GPIO_PIN_8;
  GPIO_InitStruct.Mode = GPIO_MODE_INPUT;
  GPIO_InitStruct.Pull = GPIO_NOPULL;
  HAL_GPIO_Init(GPIOD, &GPIO_InitStruct);

  /*Configure GPIO pins : PD9 PD10 PD11 PD2 */
  GPIO_InitStruct.Pin = GPIO_PIN_9|GPIO_PIN_10|GPIO_PIN_11|GPIO_PIN_2;
  GPIO_InitStruct.Mode = GPIO_MODE_OUTPUT_PP;
  GPIO_InitStruct.Pull = GPIO_NOPULL;
  GPIO_InitStruct.Speed = GPIO_SPEED_FREQ_LOW;
  HAL_GPIO_Init(GPIOD, &GPIO_InitStruct);

  /*Configure GPIO pin : PH3 */
  GPIO_InitStruct.Pin = GPIO_PIN_3;
  GPIO_InitStruct.Mode = GPIO_MODE_OUTPUT_PP;
  GPIO_InitStruct.Pull = GPIO_PULLDOWN;
  GPIO_InitStruct.Speed = GPIO_SPEED_FREQ_LOW;
  HAL_GPIO_Init(GPIOH, &GPIO_InitStruct);

}

/* USER CODE BEGIN 4 */
uint8_t debug_tx_buffer[100];

void debug_print(char *fmt, ...){
	va_list args;

	va_start(args, fmt);
	vsprintf((char *)debug_tx_buffer, fmt, args);
	va_end(args);

	HAL_UART_Transmit_DMA(&hlpuart1, debug_tx_buffer, strlen((const char *)debug_tx_buffer));
	HAL_Delay(1);
}

void HAL_SAI_RxCpltCallback(SAI_HandleTypeDef *hsai)
{
		sample_i2s = (data_i2s[0] + 1650);
}

/* USER CODE END 4 */

void HAL_TIM_PeriodElapsedCallback(TIM_HandleTypeDef *htim)
{
  if (htim->Instance == TIM1) {
    HAL_IncTick();
  }
}

void Error_Handler(void)
{
  __disable_irq();
  while (1)
  {
  }
}
